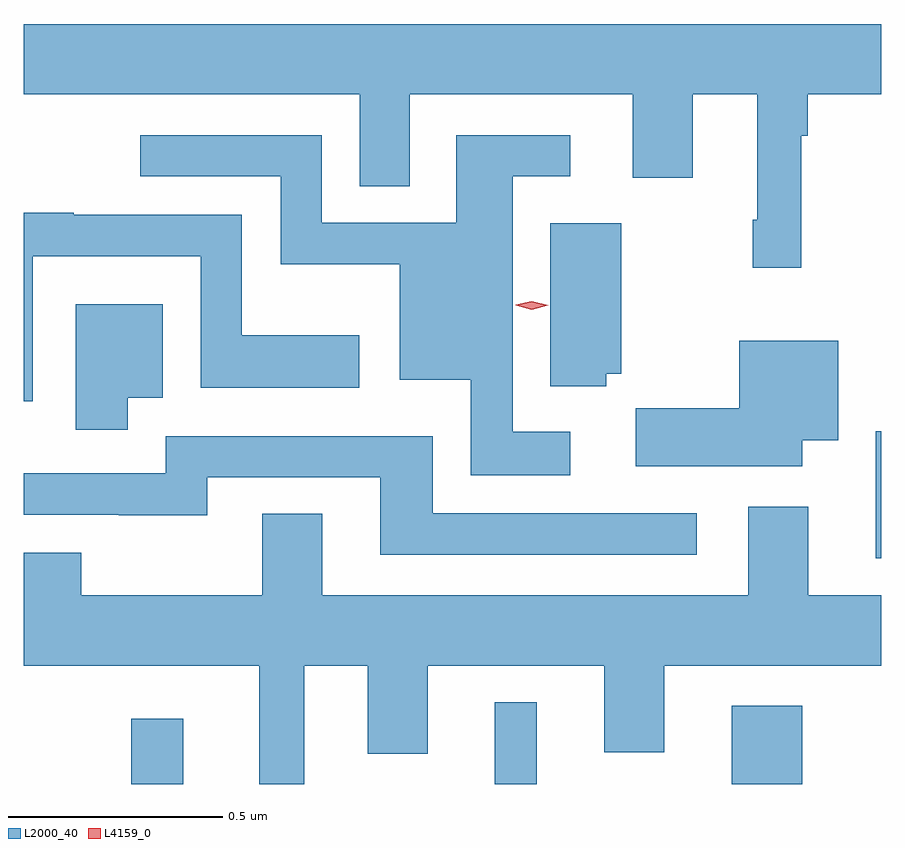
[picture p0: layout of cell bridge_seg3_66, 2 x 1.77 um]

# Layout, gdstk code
import gdstk
lib = gdstk.Library(unit=1e-6, precision=1e-09)
def R(c, l, rs):  # rectangles x0, y0, x1, y1
    for r in rs: c.add(gdstk.rectangle(r[:2], r[2:], *l))
def P(c, l, *ps):  # polygons
    for p in ps: c.add(gdstk.Polygon(p, *l))
L2000_40 = (2000, 40)
L4159_0 = (4159, 0)

bridge_seg3_66 = lib.new_cell('bridge_seg3_66')
R(bridge_seg3_66, L2000_40, [(574.194,675.332,574.315,675.484), (575.042,675.332,575.14,675.523), (575.594,675.332,575.758,675.514), (575.93,675.858,575.943,676.155)])
P(bridge_seg3_66, L2000_40, [(575.756,676.844),(575.771,676.844),(575.771,676.94),(575.943,676.94),(575.943,677.104),(573.943,677.104),(573.943,676.94),(574.727,676.94),(574.727,676.726),(574.843,676.726),(574.843,676.94),(575.363,676.94),(575.363,676.746),(575.503,676.746),(575.503,676.94),(575.654,676.94),(575.654,676.648),(575.643,676.648),(575.643,676.536),(575.756,676.536)],
  [(575.218,676.153),(575.083,676.153),(575.083,676.749),(575.218,676.749),(575.218,676.845),(574.952,676.845),(574.952,676.641),(574.638,676.641),(574.638,676.845),(574.215,676.845),(574.215,676.749),(574.542,676.749),(574.542,676.544),(574.82,676.544),(574.82,676.274),(574.986,676.274),(574.986,676.052),(575.218,676.052)],
  [(573.964,676.563),(574.356,676.563),(574.356,676.256),(574.726,676.256),(574.726,676.378),(574.452,676.378),(574.452,676.659),(574.06,676.659),(574.06,676.664),(573.943,676.664),(573.943,676.224),(573.964,676.224)],
  [(575.301,676.289),(575.336,676.289),(575.336,676.639),(575.171,676.639),(575.171,676.259),(575.301,676.259)],
  [(574.186,676.232),(574.267,676.232),(574.267,676.45),(574.064,676.45),(574.064,676.158),(574.186,676.158)],
  [(575.758,676.133),(575.842,676.133),(575.842,676.366),(575.612,676.366),(575.612,676.208),(575.37,676.208),(575.37,676.073),(575.758,676.073)],
  [(575.512,675.963),(574.897,675.963),(574.897,676.143),(574.275,676.143),(574.275,676.056),(573.968,676.056),(573.968,676.057),(573.943,676.057),(573.943,675.96),(574.165,675.96),(574.165,675.959),(574.371,675.959),(574.371,676.047),(574.775,676.047),(574.775,675.867),(575.512,675.867)],
  [(574.639,675.962),(574.499,675.962),(574.499,675.772),(574.077,675.772),(574.077,675.871),(573.943,675.871),(573.943,675.608),(574.493,675.608),(574.493,675.332),(574.597,675.332),(574.597,675.608),(574.745,675.608),(574.745,675.402),(574.885,675.402),(574.885,675.608),(575.297,675.608),(575.297,675.406),(575.437,675.406),(575.437,675.608),(575.943,675.608),(575.943,675.772),(575.773,675.772),(575.773,675.979),(575.633,675.979),(575.633,675.772),(574.639,675.772)])
P(bridge_seg3_66, L4159_0, [(575.128,676.438),(575.09,676.448),(575.09,676.448),(575.09,676.449),(575.128,676.458),(575.166,676.448),(575.166,676.448),(575.166,676.448)])

lib.write_gds('bridge_seg3_66.gds')
